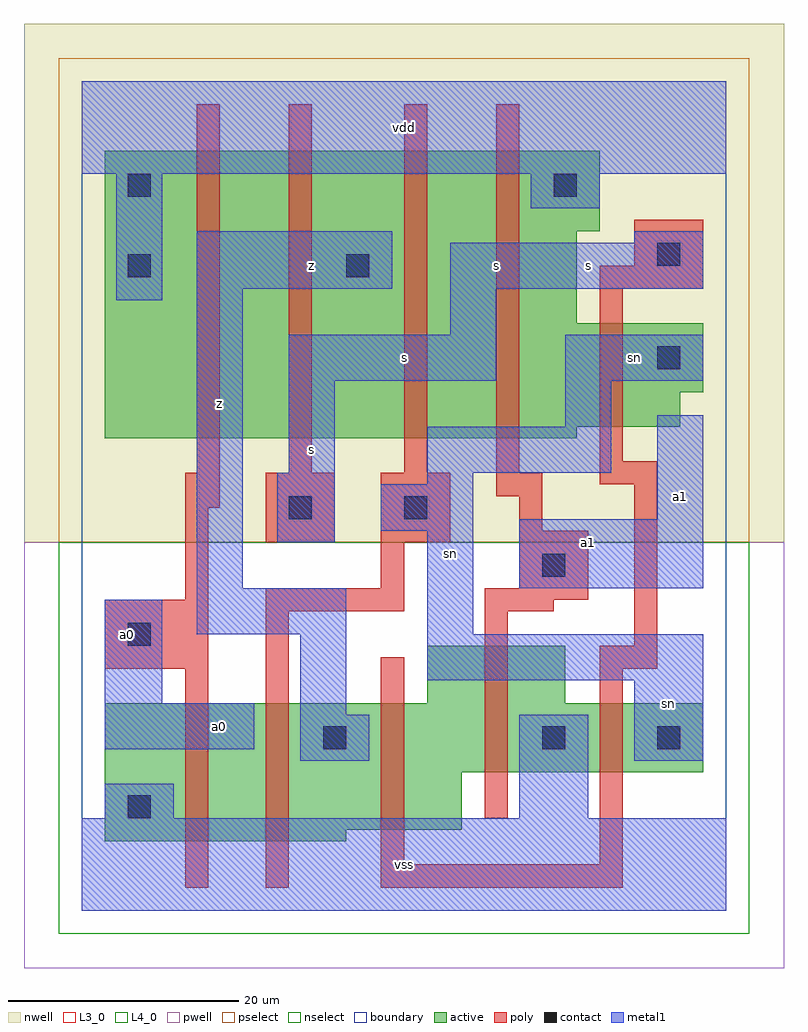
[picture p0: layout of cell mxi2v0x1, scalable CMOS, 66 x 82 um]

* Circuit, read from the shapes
.subckt mxi2v0x1 a0 a1 s sn vdd vss z
M1 n1 a0 vss VSUBS nfet w=12u l=2u
M2 z sn n1 VSUBS nfet w=12u l=2u
M3 n2 s z VSUBS nfet w=11u l=2u
M4 vss a1 n2 VSUBS nfet w=11u l=2u
M5 sn s vss VSUBS nfet w=6u l=2u
M6 n3 a0 vdd n4 pfet w=25u l=2u
M7 z s n3 n4 pfet w=25u l=2u
M8 n5 sn z n4 pfet w=25u l=2u
M9 vdd a1 n5 n4 pfet w=25u l=2u
M10 sn s vdd n4 pfet w=9u l=2u
.ends

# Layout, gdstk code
import gdstk
lib = gdstk.Library(unit=1e-6, precision=1e-09)
def R(c, l, rs):  # rectangles x0, y0, x1, y1
    for r in rs: c.add(gdstk.rectangle(r[:2], r[2:], *l))
L3_0 = (3, 0)
L4_0 = (4, 0)
contact = (25, 0)
pwell = (41, 0)
nwell = (42, 0)
active = (43, 0)
pselect = (44, 0)
nselect = (45, 0)
poly = (46, 0)
metal1 = (49, 0)
boundary = (63, 0)

mxi2v0x1 = lib.new_cell('mxi2v0x1')
R(mxi2v0x1, L3_0, [(2,6,23,7), (2,7,33,12), (2,12,54,18), (30,18,42,23)])
R(mxi2v0x1, L4_0, [(2,41,43,42), (2,42,52,45), (2,45,54,51), (2,51,43,59), (2,59,45,66)])
R(mxi2v0x1, contact, [(4,8,6,10), (21,14,23,16), (40,14,42,16), (50,14,52,16), (4,23,6,25), (40,29,42,31), (18,34,20,36), (28,34,30,36), (50,47,52,49), (4,55,6,57), (23,55,25,57), (50,56,52,58), (4,62,6,64), (41,62,43,64)])
R(mxi2v0x1, pwell, [(-5,-5,61,32)])
R(mxi2v0x1, nwell, [(-5,32,61,77)])
R(mxi2v0x1, active, [(2,6,23,7), (2,7,33,12), (2,12,54,18), (30,18,42,23), (2,41,43,42), (2,42,52,45), (2,45,54,51), (2,51,43,59), (2,59,45,66)])
R(mxi2v0x1, pselect, [(-2,32,58,74)])
R(mxi2v0x1, nselect, [(-2,-2,58,32)])
R(mxi2v0x1, poly, [(9,2,11,21), (16,2,18,26), (26,2,47,4), (26,4,28,22), (45,4,47,21), (35,8,37,26), (2,21,11,27), (45,21,50,23), (48,23,50,37), (16,26,28,28), (35,26,41,27), (9,27,11,35), (35,27,44,28), (26,28,28,32), (38,28,44,33), (16,32,22,38), (26,32,32,38), (38,33,40,36), (9,35,12,38), (36,36,40,38), (45,37,50,39), (10,38,12,70), (18,38,20,70), (28,38,30,70), (36,38,38,70), (45,39,47,54), (45,54,54,56), (48,56,54,60)])
R(mxi2v0x1, metal1, [(0,0,56,8), (2,8,8,11), (38,8,44,17), (19,13,25,17), (48,13,54,20), (2,14,15,18), (19,17,23,24), (2,18,7,27), (30,20,54,24), (10,24,23,28), (30,24,34,33), (10,28,14,54), (38,28,54,34), (17,32,22,38), (26,33,34,37), (50,34,54,43), (30,37,34,38), (18,38,22,46), (30,38,46,42), (42,42,46,46), (18,46,36,50), (42,46,54,50), (32,50,36,54), (3,53,7,64), (10,54,27,59), (32,54,54,58), (48,58,54,59), (39,61,45,64), (0,64,56,72)])
R(mxi2v0x1, boundary, [(0,0,56,72)])
mxi2v0x1.add(gdstk.Label('sn', (32,31), layer=49, texttype=0))
mxi2v0x1.add(gdstk.Label('sn', (51,18), layer=49, texttype=0))
mxi2v0x1.add(gdstk.Label('sn', (48,48), layer=49, texttype=0))
mxi2v0x1.add(gdstk.Label('a0', (4,24), layer=49, texttype=0))
mxi2v0x1.add(gdstk.Label('a0', (12,16), layer=49, texttype=0))
mxi2v0x1.add(gdstk.Label('s', (20,40), layer=49, texttype=0))
mxi2v0x1.add(gdstk.Label('z', (12,44), layer=49, texttype=0))
mxi2v0x1.add(gdstk.Label('z', (20,56), layer=49, texttype=0))
mxi2v0x1.add(gdstk.Label('vss', (28,4), layer=49, texttype=0))
mxi2v0x1.add(gdstk.Label('s', (28,48), layer=49, texttype=0))
mxi2v0x1.add(gdstk.Label('s', (36,56), layer=49, texttype=0))
mxi2v0x1.add(gdstk.Label('vdd', (28,68), layer=49, texttype=0))
mxi2v0x1.add(gdstk.Label('a1', (44,32), layer=49, texttype=0))
mxi2v0x1.add(gdstk.Label('a1', (52,36), layer=49, texttype=0))
mxi2v0x1.add(gdstk.Label('s', (44,56), layer=49, texttype=0))

lib.write_gds('mxi2v0x1.gds')
